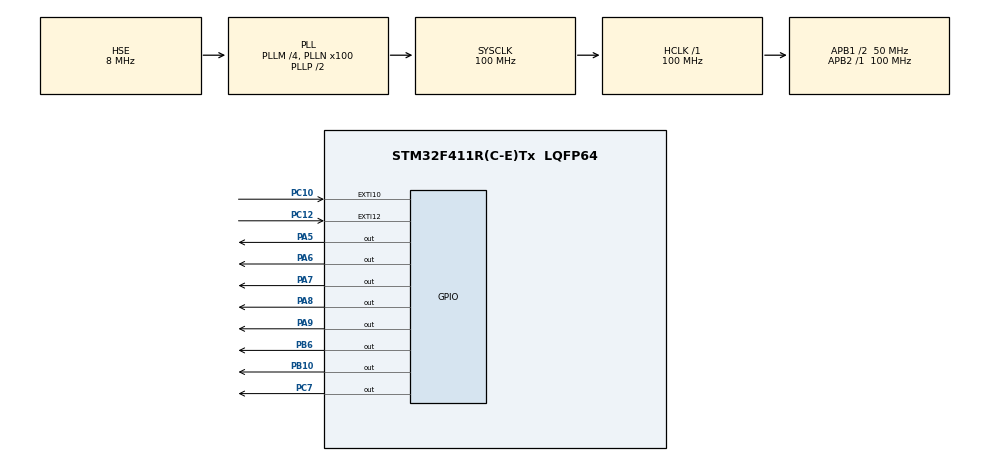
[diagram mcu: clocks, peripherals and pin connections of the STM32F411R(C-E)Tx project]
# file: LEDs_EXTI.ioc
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Mcu.Family=STM32F4
Mcu.Name=STM32F411R(C-E)Tx
Mcu.Package=LQFP64
NVIC.EXTI15_10_IRQn=true\:0\:0\:false\:false\:true\:true\:true\:true
NVIC.PriorityGroup=NVIC_PRIORITYGROUP_4
PA13.Mode=Serial_Wire
PA13.Signal=SYS_JTMS-SWDIO
PA14.Mode=Serial_Wire
PA14.Signal=SYS_JTCK-SWCLK
PA5.Signal=GPIO_Output
PA6.Signal=GPIO_Output
PA7.Signal=GPIO_Output
PA8.Signal=GPIO_Output
PA9.Signal=GPIO_Output
PB10.Signal=GPIO_Output
PB6.Signal=GPIO_Output
PC10.GPIO_ModeDefaultEXTI=GPIO_MODE_IT_FALLING
PC10.Signal=GPXTI10
PC12.GPIO_PuPd=GPIO_PULLUP
PC12.Signal=GPXTI12
PC7.Signal=GPIO_Output
PH0\ -\ OSC_IN.Mode=HSE-External-Oscillator
PH0\ -\ OSC_IN.Signal=RCC_OSC_IN
PH1\ -\ OSC_OUT.Mode=HSE-External-Oscillator
PH1\ -\ OSC_OUT.Signal=RCC_OSC_OUT
ProjectManager.HeapSize=0x200
ProjectManager.StackSize=0x400
ProjectManager.TargetToolchain=STM32CubeIDE
RCC.48MHZClocksFreq_Value=50000000
RCC.AHBFreq_Value=100000000
RCC.APB1CLKDivider=RCC_HCLK_DIV2
RCC.APB1Freq_Value=50000000
RCC.APB1TimFreq_Value=100000000
RCC.APB2Freq_Value=100000000
RCC.APB2TimFreq_Value=100000000
RCC.CortexFreq_Value=100000000
RCC.HCLKFreq_Value=100000000
RCC.HSE_VALUE=8000000
RCC.HSI_VALUE=16000000
RCC.LSE_VALUE=32768
RCC.PLLM=4
RCC.PLLN=100
RCC.PLLSourceVirtual=RCC_PLLSOURCE_HSE
RCC.SYSCLKFreq_VALUE=100000000
RCC.SYSCLKSource=RCC_SYSCLKSOURCE_PLLCLK
RCC.VCOOutputFreq_Value=200000000
board=custom

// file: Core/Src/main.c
/* USER CODE BEGIN Header */
/**
  ******************************************************************************
  * @file           : main.c
  * @brief          : Main program body
  ******************************************************************************
  * @attention
  *
  * Copyright (c) 2023 STMicroelectronics.
  * All rights reserved.
  *
  * This software is licensed under terms that can be found in the LICENSE file
  * in the root directory of this software component.
  * If no LICENSE file comes with this software, it is provided AS-IS.
  *
  ******************************************************************************
  */
/* USER CODE END Header */
#include "main.h"
#include "gpio.h"

/* USER CODE BEGIN PM */
#define DELAY_MS 30
/* USER CODE END PM */

void SystemClock_Config(void);

/* USER CODE BEGIN 0 */
uint8_t light_mode = 0;
/* USER CODE END 0 */

int main(void)
{

  /* MCU Configuration--------------------------------------------------------*/

  /* Reset of all peripherals, Initializes the Flash interface and the Systick. */
  HAL_Init();

  /* Configure the system clock */
  SystemClock_Config();

  /* Initialize all configured peripherals */
  MX_GPIO_Init();
  /* USER CODE BEGIN 2 */
    GPIO_TypeDef *led_GPIO[8] = {
            GPIOA, GPIOA, GPIOA, GPIOB, GPIOC, GPIOA, GPIOA, GPIOB
    };
    uint16_t led_GPIO_pin[8] = {
            GPIO_PIN_5, GPIO_PIN_6, GPIO_PIN_7, GPIO_PIN_6,
            GPIO_PIN_7, GPIO_PIN_9, GPIO_PIN_8, GPIO_PIN_10
    };
  /* USER CODE END 2 */

  /* Infinite loop */
  while (1)
  {

    /* USER CODE BEGIN 3 */
    switch (light_mode) {
        case 0:
            for (int8_t i = 0; i < 8; i++) {
                HAL_GPIO_WritePin(led_GPIO[i], led_GPIO_pin[i], GPIO_PIN_SET);
                HAL_Delay(DELAY_MS);
                HAL_GPIO_WritePin(led_GPIO[i], led_GPIO_pin[i], GPIO_PIN_RESET);
            }
            break;
        case 1:
            for (int8_t i = 7; i >= 0; i--) {
                HAL_GPIO_WritePin(led_GPIO[i], led_GPIO_pin[i], GPIO_PIN_SET);
                HAL_Delay(DELAY_MS);
                HAL_GPIO_WritePin(led_GPIO[i], led_GPIO_pin[i], GPIO_PIN_RESET);
            }
            break;
        case 2:
            for (int8_t i = 0; i < 7; i++) {
                HAL_GPIO_WritePin(led_GPIO[i], led_GPIO_pin[i], GPIO_PIN_SET);
                HAL_Delay(DELAY_MS);
                HAL_GPIO_WritePin(led_GPIO[i], led_GPIO_pin[i], GPIO_PIN_RESET);
            }
            for (int8_t i = 7; i > 0; i--) {
                HAL_GPIO_WritePin(led_GPIO[i], led_GPIO_pin[i], GPIO_PIN_SET);
                HAL_Delay(DELAY_MS);
                HAL_GPIO_WritePin(led_GPIO[i], led_GPIO_pin[i], GPIO_PIN_RESET);
            }
    }
  }
  /* USER CODE END 3 */
}

void SystemClock_Config(void)
{
  RCC_OscInitTypeDef RCC_OscInitStruct = {0};
  RCC_ClkInitTypeDef RCC_ClkInitStruct = {0};

  /** Configure the main internal regulator output voltage
  */
  __HAL_RCC_PWR_CLK_ENABLE();
  __HAL_PWR_VOLTAGESCALING_CONFIG(PWR_REGULATOR_VOLTAGE_SCALE1);

  /** Initializes the RCC Oscillators according to the specified parameters
  * in the RCC_OscInitTypeDef structure.
  */
  RCC_OscInitStruct.OscillatorType = RCC_OSCILLATORTYPE_HSE;
  RCC_OscInitStruct.HSEState = RCC_HSE_ON;
  RCC_OscInitStruct.PLL.PLLState = RCC_PLL_ON;
  RCC_OscInitStruct.PLL.PLLSource = RCC_PLLSOURCE_HSE;
  RCC_OscInitStruct.PLL.PLLM = 4;
  RCC_OscInitStruct.PLL.PLLN = 100;
  RCC_OscInitStruct.PLL.PLLP = RCC_PLLP_DIV2;
  RCC_OscInitStruct.PLL.PLLQ = 4;
  if (HAL_RCC_OscConfig(&RCC_OscInitStruct) != HAL_OK)
  {
    Error_Handler();
  }

  /** Initializes the CPU, AHB and APB buses clocks
  */
  RCC_ClkInitStruct.ClockType = RCC_CLOCKTYPE_HCLK|RCC_CLOCKTYPE_SYSCLK
                              |RCC_CLOCKTYPE_PCLK1|RCC_CLOCKTYPE_PCLK2;
  RCC_ClkInitStruct.SYSCLKSource = RCC_SYSCLKSOURCE_PLLCLK;
  RCC_ClkInitStruct.AHBCLKDivider = RCC_SYSCLK_DIV1;
  RCC_ClkInitStruct.APB1CLKDivider = RCC_HCLK_DIV2;
  RCC_ClkInitStruct.APB2CLKDivider = RCC_HCLK_DIV1;

  if (HAL_RCC_ClockConfig(&RCC_ClkInitStruct, FLASH_LATENCY_3) != HAL_OK)
  {
    Error_Handler();
  }
}

/* USER CODE BEGIN 4 */
void HAL_GPIO_EXTI_Callback(uint16_t GPIO_Pin) {
    if (GPIO_Pin == GPIO_PIN_10) {
        light_mode++;
        if (light_mode == 3) {
            light_mode = 0;
        }
    }
}
/* USER CODE END 4 */

void Error_Handler(void)
{
  __disable_irq();
  while (1)
  {
  }
}
